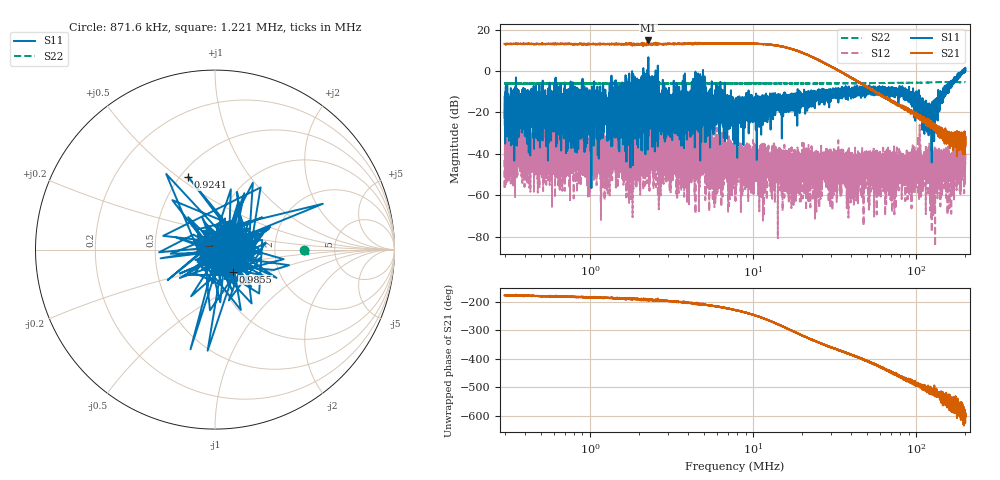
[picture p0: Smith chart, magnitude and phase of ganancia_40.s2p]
# Hz S DB R 50
! CMT, M5065, 19127446, 24.2.4/2
! Date: 11/1/2024 3:36:33 PM
! Data: Format (Calibration Info)
! Freq	S11:dB/Ang(F2)	S21:dB/Ang(F2)	S12:dB/Ang(F2)	S22:dB/Ang(F2)
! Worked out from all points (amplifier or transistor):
!   9000 points, 300 kHz to 200 MHz, reference 50 ohm
!   highest |S21| = 14.8 dB at 2.282 MHz (marker M1)
!   |S21| within 3 dB of that: start of sweep to 14.99 MHz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
!   unconditionally stable (mu >= 1): 2.608 MHz to 4.431 MHz; 4.935 MHz to 189.9 MHz; 190.1 MHz to 191.7 MHz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
!   at 886.8 kHz: K = 6.99, MAG = 14.5 dB, |S12| = -38.7 dB
!   at 7.749 MHz: K = 10.45, MAG = 14.8 dB, |S12| = -42.5 dB
!   at 200 MHz: K = -409.52, MSG = 4.6 dB, |S12| = -44.7 dB
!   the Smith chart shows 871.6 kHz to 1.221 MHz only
!   S11 on the Smith chart (normalised r, x): 871.6 kHz: 1.07, +0.03; 924.1 kHz: 0.55, +0.55; 985.5 kHz: 1.18, -0.30; 1.221 MHz: 1.22, +0.11
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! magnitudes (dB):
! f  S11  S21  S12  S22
! 300 kHz  -22.5  13.1  -43.0  -6.1
! 361 kHz  -26.3  13.2  -39.5  -6.0
! 871.6 kHz  -28.8  13.1  -36.4  -6.1
! 886.8 kHz  -18.9  13.2  -38.7  -6.0
! 924.1 kHz  -7.3  13.2  -39.1  -6.0
! 985.5 kHz  -16.0  13.0  -35.5  -6.1
! 1.221 MHz  -19.1  13.0  -48.2  -6.0
! 2.282 MHz  6.7  14.8  -44.8  -6.0
! 2.621 MHz  -23.1  13.1  -40.6  -6.1
! 4.062 MHz  -10.6  13.3  -50.9  -6.0
! 4.887 MHz  -18.9  13.2  -37.7  -6.0
! 5.783 MHz  -11.5  13.3  -40.6  -6.1
! 6.548 MHz  -19.0  13.3  -41.0  -6.0
! 7.749 MHz  -16.1  13.4  -42.5  -6.1
! 14.09 MHz  -13.1  12.3  -45.4  -5.9
! 18.01 MHz  -15.6  10.1  -46.9  -6.0
! 22.91 MHz  -10.9  7.0  -48.2  -6.0
! 67.71 MHz  -7.7  -14.0  -54.2  -5.7
! 89.68 MHz  -8.8  -18.5  -44.0  -5.7
! 124.1 MHz  -22.8  -25.1  -71.0  -5.5
! 140 MHz  -9.9  -28.8  -48.0  -5.4
! 200 MHz  0.5  -35.4  -44.7  -5.4
